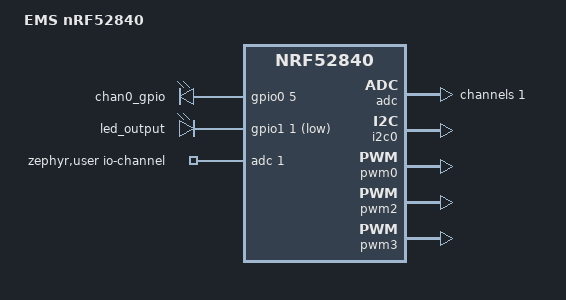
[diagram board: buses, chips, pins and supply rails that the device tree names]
/dts-v1/;
#include <nordic/nrf52840_qiaa.dtsi>
#include "ems_nrf52840-pinctrl.dtsi"

/ {
	model = "EMS nRF52840";
	compatible = "ems,ems_nrf52840";

	chosen {
		zephyr,sram = &sram0;
		zephyr,flash = &flash0;
		zephyr,code-partition = &slot0_partition;
	};

    gpio_outputs{
        compatible = "gpio-leds";
        // Channel 0 GPIO pin
        chan0_gpio: chan0_gpio{
            gpios = < &gpio0 5 GPIO_ACTIVE_HIGH >;
        };
        led_output: led_output{
            gpios = < &gpio1 1 GPIO_ACTIVE_LOW >;
        };
    };

    

	zephyr,user {
		io-channels = <&adc 1>;  // Channel 0	
		
	};

    aliases{
        ems-chan0-gpio = &chan0_gpio;
        led-out = &led_output;
		pwm-led2 = &pwm_led2;
		pwm-led3 = &pwm_led3;
    };
};

&adc {
	status = "okay";

	#address-cells = <1>;
	#size-cells = <0>;

	channel@1{
		reg = < 1 >;
		zephyr,reference = "ADC_REF_INTERNAL";
		zephyr,gain = "ADC_GAIN_1_6";// Internal ref is 0.6, gain of 1/6 means max voltage to be measured at AIN pin is 3.6V
		zephyr,acquisition-time = < ADC_ACQ_TIME_DEFAULT >;
		zephyr,input-positive = < NRF_SAADC_AIN1 >;
		zephyr,resolution = < 10 >; // 10 Bit resolution
	};
};

&gpiote {
	status = "okay";
};

&gpio0 {
	status = "okay";
};

&gpio1 {
	status = "okay";
};

&i2c0 {
	compatible = "nordic,nrf-twi";
	status = "okay";
	pinctrl-0 = <&i2c0_default>;
	pinctrl-1 = <&i2c0_sleep>;
	pinctrl-names = "default", "sleep";


};


&pwm0 {
    status = "okay";
    pinctrl-0 = <&pwm3_custom>;
    pinctrl-1 = <&pwm3_csleep>;
    pinctrl-names = "default", "sleep";
};

&pwm2 {
	status = "okay";
	pinctrl-0 = <&pwm2_default>;
	pinctrl-1 = <&pwm2_sleep>;
	pinctrl-names = "default", "sleep";
};

&pwm3 {
	status = "okay";
	pinctrl-0 = <&pwm3_default>;
	pinctrl-1 = <&pwm3_sleep>;
	pinctrl-names = "default", "sleep";
};


&flash0 {

	partitions {
		compatible = "fixed-partitions";
		#address-cells = <1>;
		#size-cells = <1>;

		boot_partition: partition@0 {
			label = "mcuboot";
			reg = <0x00000000 0x0000C000>;
		};
		slot0_partition: partition@c000 {
			label = "image-0";
			reg = <0x0000C000 0x00067000>;
		};
		slot1_partition: partition@73000 {
			label = "image-1";
			reg = <0x00073000 0x00067000>;
		};
		scratch_partition: partition@da000 {
			label = "image-scratch";
			reg = <0x000da000 0x0001e000>;
		};

		/*
		 * The flash starting at 0x000f8000 and ending at
		 * 0x000fffff is reserved for use by the application.
		 */

		/*
		 * Storage partition will be used by FCB/LittleFS/NVS
		 * if enabled.
		 */
		storage_partition: partition@f8000 {
			label = "storage";
			reg = <0x000f8000 0x00008000>;
		};
	};
};

zephyr_udc0: &usbd {
	compatible = "nordic,nrf-usbd";
	status = "disabled";
};
